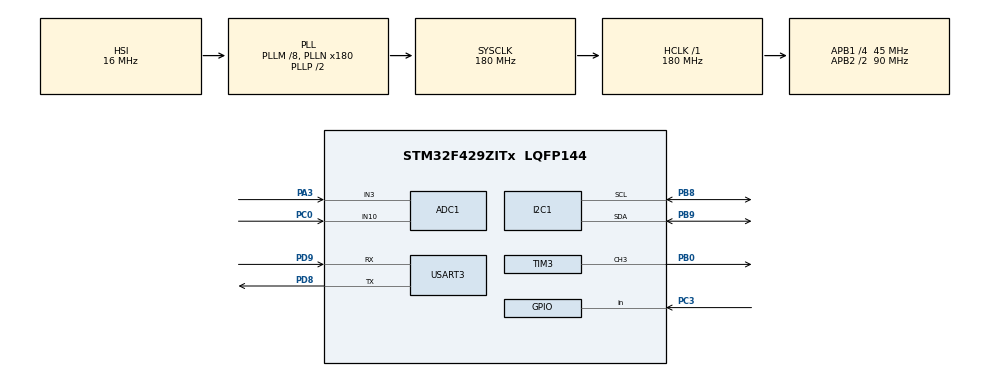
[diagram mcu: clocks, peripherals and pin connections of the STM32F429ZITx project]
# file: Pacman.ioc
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ADC1.Channel-18\#ChannelRegularConversion=ADC_CHANNEL_3
ADC1.Channel-19\#ChannelRegularConversion=ADC_CHANNEL_10
ADC1.ContinuousConvMode=ENABLE
ADC1.DMAContinuousRequests=ENABLE
ADC1.NbrOfConversion=2
ADC1.NbrOfConversionFlag=1
ADC1.Rank-18\#ChannelRegularConversion=1
ADC1.Rank-19\#ChannelRegularConversion=2
ADC1.SamplingTime-18\#ChannelRegularConversion=ADC_SAMPLETIME_84CYCLES
ADC1.SamplingTime-19\#ChannelRegularConversion=ADC_SAMPLETIME_84CYCLES
ADC1.ScanConvMode=ENABLE
ADC1.master=1
Dma.ADC1.0.Direction=DMA_PERIPH_TO_MEMORY
Dma.ADC1.0.FIFOMode=DMA_FIFOMODE_DISABLE
Dma.ADC1.0.Instance=DMA2_Stream0
Dma.ADC1.0.MemDataAlignment=DMA_MDATAALIGN_WORD
Dma.ADC1.0.MemInc=DMA_MINC_ENABLE
Dma.ADC1.0.Mode=DMA_CIRCULAR
Dma.ADC1.0.PeriphDataAlignment=DMA_PDATAALIGN_WORD
Dma.ADC1.0.PeriphInc=DMA_PINC_DISABLE
Dma.ADC1.0.Priority=DMA_PRIORITY_LOW
Dma.Request0=ADC1
Mcu.Family=STM32F4
Mcu.Name=STM32F429ZITx
Mcu.Package=LQFP144
NVIC.DMA2_Stream0_IRQn=true\:0\:0\:false\:false\:true\:false\:true\:true
NVIC.PriorityGroup=NVIC_PRIORITYGROUP_4
NVIC.TIM2_IRQn=true\:0\:0\:false\:false\:true\:true\:true\:true
PA13.Mode=Serial_Wire
PA13.Signal=SYS_JTMS-SWDIO
PA14.Mode=Serial_Wire
PA14.Signal=SYS_JTCK-SWCLK
PA3.Signal=ADCx_IN3
PB0.Signal=S_TIM3_CH3
PB8.GPIO_Pu=GPIO_PULLUP
PB8.Mode=I2C
PB8.Signal=I2C1_SCL
PB9.GPIO_Pu=GPIO_PULLUP
PB9.Mode=I2C
PB9.Signal=I2C1_SDA
PC0.Signal=ADCx_IN10
PC14/OSC32_IN.Mode=LSE-External-Oscillator
PC14/OSC32_IN.Signal=RCC_OSC32_IN
PC15/OSC32_OUT.Mode=LSE-External-Oscillator
PC15/OSC32_OUT.Signal=RCC_OSC32_OUT
PC3.GPIO_Mode=GPIO_MODE_INPUT
PC3.GPIO_PuPd=GPIO_PULLUP
PC3.Signal=GPIO_Input
PD8.Mode=Asynchronous
PD8.Signal=USART3_TX
PD9.Mode=Asynchronous
PD9.Signal=USART3_RX
ProjectManager.HeapSize=0x200
ProjectManager.StackSize=0x400
ProjectManager.TargetToolchain=STM32CubeIDE
RCC.48MHZClocksFreq_Value=90000000
RCC.AHBFreq_Value=180000000
RCC.APB1CLKDivider=RCC_HCLK_DIV4
RCC.APB1Freq_Value=45000000
RCC.APB1TimFreq_Value=90000000
RCC.APB2CLKDivider=RCC_HCLK_DIV2
RCC.APB2Freq_Value=90000000
RCC.APB2TimFreq_Value=180000000
RCC.CortexFreq_Value=180000000
RCC.HCLKFreq_Value=180000000
RCC.HSE_VALUE=25000000
RCC.HSI_VALUE=16000000
RCC.PLLM=8
RCC.PLLN=180
RCC.RCC_RTC_Clock_Source=RCC_RTCCLKSOURCE_LSE
RCC.RCC_RTC_Clock_SourceVirtual=RCC_RTCCLKSOURCE_LSE
RCC.SYSCLKFreq_VALUE=180000000
RCC.SYSCLKSource=RCC_SYSCLKSOURCE_PLLCLK
RCC.VCOOutputFreq_Value=360000000
SH.ADCx_IN10.0=ADC1_IN10,IN10
SH.ADCx_IN3.0=ADC1_IN3,IN3
SH.S_TIM3_CH3.0=TIM3_CH3,PWM Generation3 CH3
TIM2.AutoReloadPreload=TIM_AUTORELOAD_PRELOAD_ENABLE
TIM2.Period=10000-1
TIM2.Prescaler=9000-1
TIM3.AutoReloadPreload=TIM_AUTORELOAD_PRELOAD_ENABLE
TIM3.Channel-PWM\ Generation3\ CH3=TIM_CHANNEL_3
TIM3.CounterMode=TIM_COUNTERMODE_UP
TIM3.Period=1000-1
TIM3.Prescaler=230-1
TIM3.Pulse-PWM\ Generation3\ CH3=0
USART3.VirtualMode=VM_ASYNC
VP_RTC_VS_RTC_Activate.Mode=RTC_Enabled
VP_TIM2_VS_ClockSourceINT.Mode=Internal
VP_TIM3_VS_ClockSourceINT.Mode=Internal
board=custom

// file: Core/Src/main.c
/* USER CODE BEGIN Header */
/**
  ******************************************************************************
  * @file           : main.c
  * @brief          : Main program body
  ******************************************************************************
  * @attention
  *
  * Copyright (c) 2022 STMicroelectronics.
  * All rights reserved.
  *
  * This software is licensed under terms that can be found in the LICENSE file
  * in the root directory of this software component.
  * If no LICENSE file comes with this software, it is provided AS-IS.
  *
  ******************************************************************************
  */
/* USER CODE END Header */
#include "main.h"
#include "adc.h"
#include "dma.h"
#include "i2c.h"
#include "rtc.h"
#include "tim.h"
#include "usart.h"
#include "gpio.h"

/* USER CODE BEGIN Includes */
#include "i2c-lcd.h"
#include <string.h>
#include <stdlib.h>
/* USER CODE END Includes */

/* USER CODE BEGIN PV */
typedef enum{
	ING,
	WIN,
	OVER
}_Game_status;
_Game_status game_status=ING;
typedef enum{
	LEVEL1=1,
	LEVEL2,
	LEVEL3
}_Level;
_Level level=LEVEL1;
typedef enum{
	UP,
	DOWN,
	RIGHT,
	LEFT,
	NONE
}_Direction;
typedef struct{
	int row;
	int col;
	int image_num;
	int past_position[2][16];
	uint8_t prey;
}_Character;

typedef struct{
	int row;
	int col;
	int image_num;
	uint8_t clock_before;
}_Enemy;

uint32_t XY[2];
//char uart_buf[30];

uint8_t ClockFlag = 0;

/* USER CODE END PV */

void SystemClock_Config(void);
/* USER CODE BEGIN PFP */
//void SystemClock_Config(void)
//{
//  RCC_OscInitTypeDef RCC_OscInitStruct = {0};
//  RCC_ClkInitTypeDef RCC_ClkInitStruct = {0};
//
//  /** Configure the main internal regulator output voltage
//  */
//  __HAL_RCC_PWR_CLK_ENABLE();
//  __HAL_PWR_VOLTAGESCALING_CONFIG(PWR_REGULATOR_VOLTAGE_SCALE1);
//
//  /** Initializes the RCC Oscillators according to the specified parameters
//  * in the RCC_OscInitTypeDef structure.
//  */
//  RCC_OscInitStruct.OscillatorType = RCC_OSCILLATORTYPE_HSI|RCC_OSCILLATORTYPE_LSE;
//  RCC_OscInitStruct.LSEState = RCC_LSE_ON;
//  RCC_OscInitStruct.HSIState = RCC_HSI_ON;
//  RCC_OscInitStruct.HSICalibrationValue = RCC_HSICALIBRATION_DEFAULT;
//  RCC_OscInitStruct.PLL.PLLState = RCC_PLL_ON;
//  RCC_OscInitStruct.PLL.PLLSource = RCC_PLLSOURCE_HSI;
//  RCC_OscInitStruct.PLL.PLLM = 8;
//  RCC_OscInitStruct.PLL.PLLN = 180;
//  RCC_OscInitStruct.PLL.PLLP = RCC_PLLP_DIV2;
//  RCC_OscInitStruct.PLL.PLLQ = 4;
//  if (HAL_RCC_OscConfig(&RCC_OscInitStruct) != HAL_OK)
//  {
//    Error_Handler();
//  }
//
//  /** Activate the Over-Drive mode
//  */
//  if (HAL_PWREx_EnableOverDrive() != HAL_OK)
//  {
//    Error_Handler();
//  }
//
//  /** Initializes the CPU, AHB and APB buses clocks
//  */
//  RCC_ClkInitStruct.ClockType = RCC_CLOCKTYPE_HCLK|RCC_CLOCKTYPE_SYSCLK
//                              |RCC_CLOCKTYPE_PCLK1|RCC_CLOCKTYPE_PCLK2;
//  RCC_ClkInitStruct.SYSCLKSource = RCC_SYSCLKSOURCE_PLLCLK;
//  RCC_ClkInitStruct.AHBCLKDivider = RCC_SYSCLK_DIV1;
//  RCC_ClkInitStruct.APB1CLKDivider = RCC_HCLK_DIV4;
//  RCC_ClkInitStruct.APB2CLKDivider = RCC_HCLK_DIV2;
//
//  if (HAL_RCC_ClockConfig(&RCC_ClkInitStruct, FLASH_LATENCY_5) != HAL_OK)
//  {
//    Error_Handler();
//  }
//}

_Direction readJoystick();
void MoveCharacter(_Character *character, _Direction direction);
void DisplayLCD(_Character *character);
void DisplayEnemy(_Enemy enemy);
_Game_status GameCHK(_Character *character, _Enemy *enemy);
void MoveEnemy(_Enemy *enemy, _Character character, uint8_t pulse);
void StartSound();
void LoseSound();
void WinSound();
void LevelupInit(_Character *character, _Enemy *enemy);

/* USER CODE END PFP */

int main(void)
{

  /* MCU Configuration--------------------------------------------------------*/

  /* Reset of all peripherals, Initializes the Flash interface and the Systick. */
  HAL_Init();

  /* Configure the system clock */
  SystemClock_Config();

  /* Initialize all configured peripherals */
  MX_GPIO_Init();
  MX_I2C1_Init();
  MX_RTC_Init();
  MX_DMA_Init();
  MX_ADC1_Init();
  MX_USART3_UART_Init();
  MX_TIM2_Init();
  MX_TIM3_Init();
  /* USER CODE BEGIN 2 */

  HAL_ADC_Start_DMA(&hadc1, XY, 2);	// start ADC in DMA mode for Multi channel

  lcd_init();

  // write to CGRAM
  char pac1[] = {0x07, 0x0F, 0x1E, 0x1C, 0x1C, 0x1E, 0x0F, 0x07};
  char pac2[] = {0x07, 0x0F, 0x1E, 0x1C, 0x1E, 0x1F, 0x0F, 0x00};

  char pac3[] = {0x1C, 0x1E, 0x0F, 0x07, 0x07, 0x0F, 0x1E, 0x1C};
  char pac4[] = {0x1C, 0x1E, 0x0F, 0x07, 0x0F, 0x1F, 0x1E, 0x00};

  char enemy[] = {0x1F, 0x15, 0x1F, 0x1F, 0x0E, 0x0A, 0x0A, 0x1B};

  lcd_send_cmd(0x40);
  for(int i=0; i<8; i++) lcd_send_data(pac1[i]);

  lcd_send_cmd(0x40+8);
  for(int i=0; i<8; i++) lcd_send_data(pac2[i]);

  lcd_send_cmd(0x40+16);
  for (int i=0; i<8; i++) lcd_send_data(pac3[i]);

  lcd_send_cmd(0x40+24);
  for (int i=0; i<8; i++) lcd_send_data(pac4[i]);

  lcd_send_cmd(0x40+32);
  for (int i=0; i<8; i++) lcd_send_data(enemy[i]);

  lcd_put_cur(0, 0);
  lcd_send_string("press the button");

  lcd_put_cur(1, 4);
  lcd_send_string("to start");

  while(HAL_GPIO_ReadPin(GPIOC, GPIO_PIN_3)){
	  HAL_Delay(100);
  }

  HAL_TIM_Base_Start_IT(&htim2);

  HAL_TIM_PWM_Start(&htim3, TIM_CHANNEL_3);

  StartSound();

  lcd_clear();
  lcd_put_cur(0, 1);
  lcd_send_string("LEVEL 1");
  HAL_Delay(500);

  lcd_put_cur(0, 9);
  lcd_send_string("start!");
  HAL_Delay(800);

  // init _Character
  _Character pacman;
  memset(&pacman, 0, sizeof(pacman));
  pacman.prey=31;
  _Enemy octopus;

  // init _Enemy
  memset(&pacman, 0, sizeof(octopus));
  octopus.image_num=4;
  octopus.row=1;
  octopus.col=8;

  lcd_clear();
  lcd_put_cur(pacman.row, pacman.col);
  lcd_send_data(pacman.image_num);

  /* USER CODE END 2 */

  /* Infinite loop */
  /* USER CODE BEGIN WHILE */
  while (1)
  {

	  if(game_status==ING){
		  MoveCharacter(&pacman, readJoystick());
		  DisplayLCD(&pacman);
		  MoveEnemy(&octopus, pacman, ClockFlag);
		  DisplayEnemy(octopus);

		  game_status=GameCHK(&pacman, &octopus);

		  HAL_Delay(100);
		  TIM3->CCR3 = 0;

	  }else if(game_status==WIN){
		  lcd_put_cur(0,4);
		  lcd_send_string("YOU WIN");
		  lcd_put_cur(1,0);
		  lcd_send_string("Congratulations!");
	  }else if(game_status==OVER){
		  lcd_put_cur(0,4);
		  lcd_send_string("YOU LOSE");
	  }

    /* USER CODE END WHILE */

  }
}

void SystemClock_Config(void)
{
  RCC_OscInitTypeDef RCC_OscInitStruct = {0};
  RCC_ClkInitTypeDef RCC_ClkInitStruct = {0};

  /** Configure the main internal regulator output voltage
  */
  __HAL_RCC_PWR_CLK_ENABLE();
  __HAL_PWR_VOLTAGESCALING_CONFIG(PWR_REGULATOR_VOLTAGE_SCALE1);

  /** Initializes the RCC Oscillators according to the specified parameters
  * in the RCC_OscInitTypeDef structure.
  */
  RCC_OscInitStruct.OscillatorType = RCC_OSCILLATORTYPE_HSI|RCC_OSCILLATORTYPE_LSE;
  RCC_OscInitStruct.LSEState = RCC_LSE_ON;
  RCC_OscInitStruct.HSIState = RCC_HSI_ON;
  RCC_OscInitStruct.HSICalibrationValue = RCC_HSICALIBRATION_DEFAULT;
  RCC_OscInitStruct.PLL.PLLState = RCC_PLL_ON;
  RCC_OscInitStruct.PLL.PLLSource = RCC_PLLSOURCE_HSI;
  RCC_OscInitStruct.PLL.PLLM = 8;
  RCC_OscInitStruct.PLL.PLLN = 180;
  RCC_OscInitStruct.PLL.PLLP = RCC_PLLP_DIV2;
  RCC_OscInitStruct.PLL.PLLQ = 4;
  if (HAL_RCC_OscConfig(&RCC_OscInitStruct) != HAL_OK)
  {
    Error_Handler();
  }

  /** Activate the Over-Drive mode
  */
  if (HAL_PWREx_EnableOverDrive() != HAL_OK)
  {
    Error_Handler();
  }

  /** Initializes the CPU, AHB and APB buses clocks
  */
  RCC_ClkInitStruct.ClockType = RCC_CLOCKTYPE_HCLK|RCC_CLOCKTYPE_SYSCLK
                              |RCC_CLOCKTYPE_PCLK1|RCC_CLOCKTYPE_PCLK2;
  RCC_ClkInitStruct.SYSCLKSource = RCC_SYSCLKSOURCE_PLLCLK;
  RCC_ClkInitStruct.AHBCLKDivider = RCC_SYSCLK_DIV1;
  RCC_ClkInitStruct.APB1CLKDivider = RCC_HCLK_DIV4;
  RCC_ClkInitStruct.APB2CLKDivider = RCC_HCLK_DIV2;

  if (HAL_RCC_ClockConfig(&RCC_ClkInitStruct, FLASH_LATENCY_5) != HAL_OK)
  {
    Error_Handler();
  }
}

/* USER CODE BEGIN 4 */

_Direction readJoystick(){
	  if(XY[0]>4080){
		  return RIGHT;
	  }else if(XY[0]<20){
		  return LEFT;
	  }else if(XY[1]<50){
		  return UP;
	  }else if(XY[1]>4050){
		  return DOWN;
	  }else
		  return NONE;
}

void MoveCharacter(_Character *character, _Direction direction){

	switch(direction){
	case RIGHT:
		character->col++;
		if(character->col > 15) character->col = 15;
		character->image_num &= ~(0x2);
		character->image_num ^= 1;
		break;
	case LEFT:
		character->col--;
		if(character->col < 0) character->col = 0;
		character->image_num |= 0x2;
		character->image_num ^= 1;
		break;
	case UP:
		character->row--;
		if(character->row < 0) character->row = 0;
		break;
	case DOWN:
		character->row++;
		if(character->row > 1) character->row = 1;
		break;
	default :
		break;
	}
	character->past_position[character->row][character->col]=1;

}

void DisplayLCD(_Character *character){
	uint8_t chk=0;
	lcd_clear();
	lcd_put_cur(character->row, character->col);
	lcd_send_data(character->image_num);
	for(int i=0;i<=1;i++){
		for(int j=0;j<16;j++){
			if(character->past_position[i][j]!=1){
				lcd_put_cur(i,j);
				lcd_send_data(0xa5);
				chk++;
			}
		}
	}
	if(chk < character->prey){
		TIM3->CCR3 = TIM3->ARR /2;
		character->prey=chk;
	}
}

void MoveEnemy(_Enemy *enemy, _Character character, uint8_t pulse){
	uint8_t move = rand()%2;

	if(pulse==1 && enemy->clock_before==0){
		if(move==0){
			if(enemy->row!=character.row) enemy->row=character.row;
		}else if(move==1) {
			if(enemy->col > character.col){
				enemy->col--;
				if(enemy->col<0) enemy->col=0;
			}else if(enemy->col < character.col){
				enemy->col++;
				if(enemy->col>15) enemy->col=15;
			}
		}
	}

	enemy->clock_before=pulse;
}

void DisplayEnemy(_Enemy enemy){
	lcd_put_cur(enemy.row, enemy.col);
	lcd_send_data(enemy.image_num);
}

_Game_status GameCHK(_Character *character, _Enemy *enemy){
	uint8_t chk=0;
	for(int i=0;i<=1;i++){
		for(int j=0;j<16;j++){
			if(character->past_position[i][j]==1) chk++;
		}
	}
	if(character->row==enemy->row && character->col==enemy->col){
		LoseSound();
		return OVER;
	}
	else if(chk==32 && level==1){
		WinSound();
		lcd_clear();
		lcd_put_cur(0, 1);
		lcd_send_string("LEVEL 2");
		HAL_Delay(500);
		lcd_put_cur(0, 9);
		lcd_send_string("start!");
		HAL_Delay(800);
		LevelupInit(character, enemy);
		TIM2->PSC = 6750;
		return game_status;
	}else if(chk==32 && level==2){
		WinSound();
		lcd_clear();
		lcd_put_cur(0, 1);
		lcd_send_string("LEVEL 3");
		HAL_Delay(500);
		lcd_put_cur(0, 9);
		lcd_send_string("start!");
		HAL_Delay(800);
		LevelupInit(character, enemy);
		TIM2->PSC = 4500;
		return game_status;
	}else if(chk==32 && level==3){
		WinSound();
		return WIN;
	}
	else return game_status;
}

void LevelupInit(_Character *character, _Enemy *enemy){
	level++;
	character->row=0;
	character->col=0;
	character->prey=31;
	for(int i=0;i<=1;i++){
		for(int j=0;j<16;j++){
			character->past_position[i][j]=0;
		}
	}
	enemy->row=1;
	enemy->col=8;
}

void HAL_TIM_PeriodElapsedCallback(TIM_HandleTypeDef *htim)
{
	ClockFlag ^= 0x01;
}

void StartSound(){
	TIM3->ARR = 156;
	TIM3->CCR3 = TIM3->ARR / 2;
	HAL_Delay(100);
	TIM3->ARR = 111;
	TIM3->CCR3 = TIM3->ARR / 2;
	HAL_Delay(100);
	// setting for prey eating sound
	TIM3->ARR = 1060;
	TIM3->CCR3 = 0;
}

void LoseSound(){
	TIM3->ARR = 290;
	TIM3->CCR3 = TIM3->ARR / 2;
	HAL_Delay(80);
	TIM3->ARR = 391;
	TIM3->CCR3 = TIM3->ARR / 2;
	HAL_Delay(80);
	TIM3->ARR = 290;
	TIM3->CCR3 = TIM3->ARR / 2;
	HAL_Delay(80);
	TIM3->ARR = 391;
	TIM3->CCR3 = TIM3->ARR / 2;
	HAL_Delay(80);
}

void WinSound(){
	TIM3->ARR = 593;
	TIM3->CCR3 = TIM3->ARR / 2;
	HAL_Delay(100);
	TIM3->CCR3 = 0;
	HAL_Delay(10);
	TIM3->CCR3 = TIM3->ARR / 2;
	HAL_Delay(100);
	TIM3->CCR3 = 0;
	HAL_Delay(10);
	TIM3->CCR3 = TIM3->ARR / 2;
	HAL_Delay(100);
	TIM3->CCR3 = 0;
	HAL_Delay(10);
	TIM3->ARR = 767;
	TIM3->CCR3 = TIM3->ARR / 2;
	HAL_Delay(100);
	TIM3->ARR = 593;
	TIM3->CCR3 = TIM3->ARR / 2;
	HAL_Delay(300);
	TIM3->ARR = 508;
	TIM3->CCR3 = TIM3->ARR / 2;
	HAL_Delay(300);
	TIM3->ARR = 1029;
	TIM3->CCR3 = TIM3->ARR / 2;
	HAL_Delay(300);
}

/* USER CODE END 4 */

void Error_Handler(void)
{
  __disable_irq();
  while (1)
  {
  }
}
